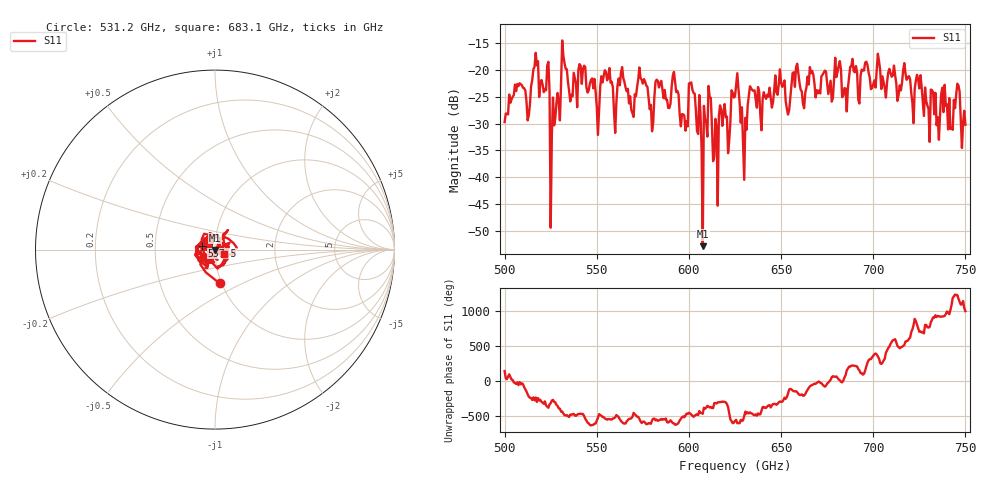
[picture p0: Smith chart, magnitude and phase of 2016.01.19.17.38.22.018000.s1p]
!Created with skrf (http://scikit-rf.org).
# GHz S RI R 50.0
!freq ReS11 ImS11
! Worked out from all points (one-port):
!   401 points, 500 GHz to 750 GHz, reference 50 ohm
!   lowest |S11| = -52.9 dB at 607.5 GHz (marker M1), VSWR 1.00, Z = 49.9 - j0.206 ohm
!   |S11| at or under -10 dB: start of sweep to end of sweep
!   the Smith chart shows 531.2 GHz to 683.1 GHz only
!   S11 on the Smith chart (normalised r, x): 531.2 GHz: 0.98, -0.38; 557.5 GHz: 0.86, +0.04; 683.1 GHz: 1.11, -0.05
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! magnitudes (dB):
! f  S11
! 500 GHz  -29.7
! 506.9 GHz  -22.6
! 513.1 GHz  -28.4
! 516.9 GHz  -16.7
! 523.1 GHz  -19.1
! 526.2 GHz  -25.1
! 531.2 GHz  -14.4
! 550.6 GHz  -32.1
! 557.5 GHz  -22.3
! 562.5 GHz  -22.8
! 568.8 GHz  -27.5
! 573.8 GHz  -21.4
! 579.4 GHz  -26.5
! 583.1 GHz  -22.0
! 593.8 GHz  -23.9
! 598.1 GHz  -31.3
! 601.9 GHz  -23.6
! 607.5 GHz  -52.9
! 610.6 GHz  -22.9
! 614.4 GHz  -29.1
! 625 GHz  -24.9
! 630 GHz  -40.5
! 633.8 GHz  -23.4
! 656.2 GHz  -20.5
! 683.1 GHz  -25.0
! 687.5 GHz  -19.4
! 718.8 GHz  -21.4
! 750 GHz  -30.2
